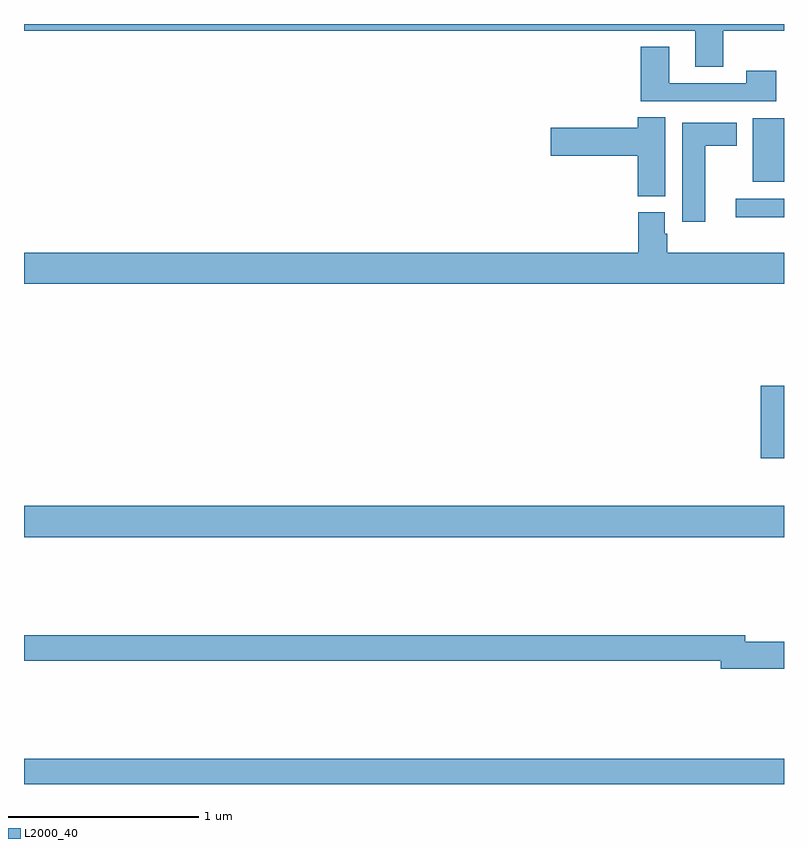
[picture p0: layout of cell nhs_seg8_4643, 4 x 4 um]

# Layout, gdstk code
import gdstk
lib = gdstk.Library(unit=1e-6, precision=1e-09)
def R(c, l, rs):  # rectangles x0, y0, x1, y1
    for r in rs: c.add(gdstk.rectangle(r[:2], r[2:], *l))
def P(c, l, *ps):  # polygons
    for p in ps: c.add(gdstk.Polygon(p, *l))
L2000_40 = (2000, 40)

nhs_seg8_4643 = lib.new_cell('nhs_seg8_4643')
R(nhs_seg8_4643, L2000_40, [(393,1081.9,397,1082.032), (393,1083.2,397,1083.364), (396.878,1083.615,397,1083.996), (396.747,1084.883,397,1084.98), (396.836,1085.069,397,1085.404)])
P(nhs_seg8_4643, L2000_40, [(396.681,1085.864),(397,1085.864),(397,1085.9),(393,1085.9),(393,1085.864),(396.533,1085.864),(396.533,1085.674),(396.681,1085.674)],
  [(396.958,1085.653),(396.802,1085.653),(396.802,1085.589),(396.397,1085.589),(396.397,1085.779),(396.245,1085.779),(396.245,1085.493),(396.958,1085.493)],
  [(396.376,1085.408),(396.23,1085.408),(396.23,1085.354),(395.772,1085.354),(395.772,1085.207),(396.23,1085.207),(396.23,1084.993),(396.376,1084.993)],
  [(396.586,1085.258),(396.751,1085.258),(396.751,1085.38),(396.464,1085.38),(396.464,1084.86),(396.586,1084.86)],
  [(397,1084.696),(396.386,1084.696),(396.386,1084.797),(396.373,1084.797),(396.373,1084.908),(396.233,1084.908),(396.233,1084.696),(393,1084.696),(393,1084.532),(397,1084.532)],
  [(397,1082.648),(396.796,1082.648),(396.796,1082.684),(393,1082.684),(393,1082.548),(396.668,1082.548),(396.668,1082.506),(397,1082.506)])

lib.write_gds('nhs_seg8_4643.gds')
